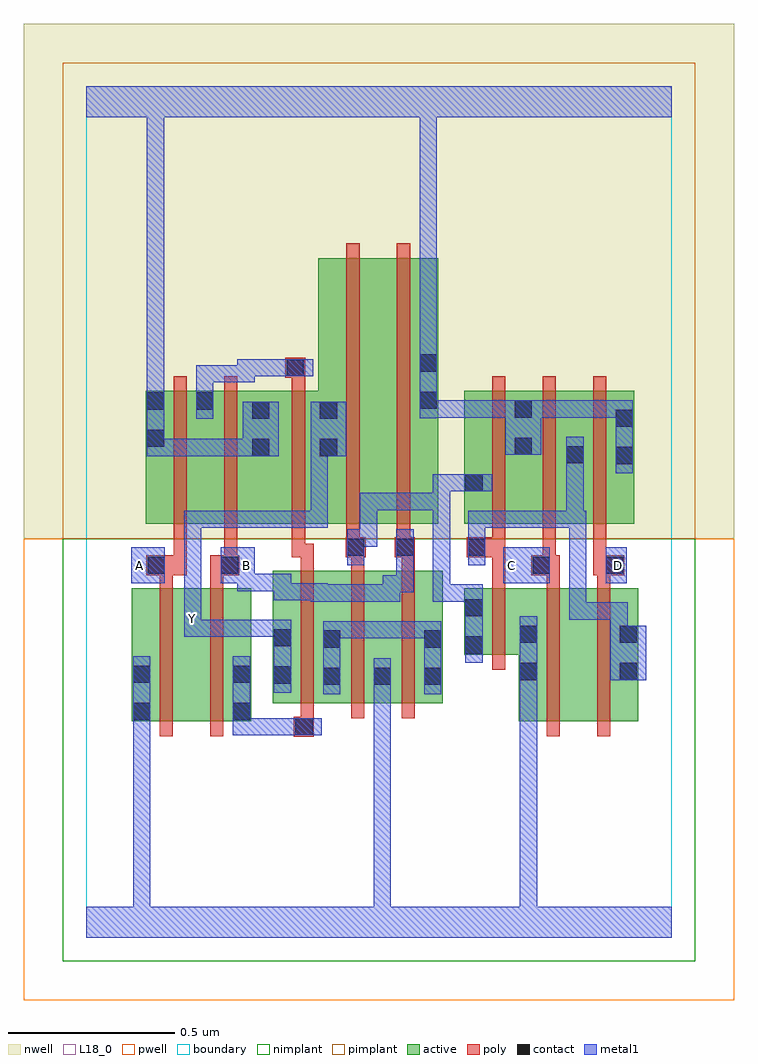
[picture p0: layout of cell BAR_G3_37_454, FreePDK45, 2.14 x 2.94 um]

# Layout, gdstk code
import gdstk
lib = gdstk.Library(unit=1e-6, precision=1e-09)
def R(c, l, rs):  # rectangles x0, y0, x1, y1
    for r in rs: c.add(gdstk.rectangle(r[:2], r[2:], *l))
def A(c, l, x, y, w, h, nx, ny, dx, dy):  # array of equal rectangles
    R(c, l, [(x+i*dx, y+j*dy, x+i*dx+w, y+j*dy+h) for i in range(nx) for j in range(ny)])
active = (1, 0)
pwell = (2, 0)
nwell = (3, 0)
nimplant = (4, 0)
pimplant = (5, 0)
poly = (9, 0)
contact = (10, 0)
metal1 = (11, 0)
L18_0 = (18, 0)
boundary = (235, 0)

bar_g3_37_454 = lib.new_cell('BAR_G3_37_454')
R(bar_g3_37_454, active, [(0.136,0.65,0.316,1.05), (0.136,0.65,0.196,1.05), (0.316,0.65,0.496,1.05), (0.436,0.65,0.496,1.05), (1.3,0.65,1.48,1.05), (1.3,0.65,1.36,1.05), (1.48,0.65,1.66,1.05), (0.56,0.704,0.768,1.104), (0.708,0.704,0.92,1.104), (0.86,0.704,1.072,1.104), (0.56,0.756,0.62,1.104), (0.708,0.756,0.768,1.104), (0.86,0.756,0.92,0.816), (1.012,0.756,1.072,1.104), (1.6,0.756,1.66,1.05), (1.136,0.85,1.36,1.05), (1.136,0.85,1.196,1.05), (0.178,1.244,0.238,1.644), (0.178,1.244,0.386,1.644), (0.326,1.244,0.386,1.644), (0.326,1.244,0.554,1.644), (0.494,1.244,0.554,1.644), (0.494,1.244,0.758,1.644), (0.698,1.244,0.878,2.044), (0.698,1.244,0.758,1.816), (0.878,1.244,1.058,2.044), (0.998,1.244,1.058,2.044), (1.136,1.244,1.196,1.644), (1.136,1.244,1.344,1.644), (1.284,1.244,1.344,1.644), (1.284,1.244,1.5,1.644), (1.44,1.244,1.5,1.644), (1.44,1.244,1.648,1.644), (1.588,1.244,1.648,1.644)])
R(bar_g3_37_454, pwell, [(-0.188,-0.188,1.948,1.2)])
R(bar_g3_37_454, nwell, [(-0.188,1.2,1.948,2.748)])
R(bar_g3_37_454, nimplant, [(-0.072,-0.072,1.832,1.2)])
R(bar_g3_37_454, pimplant, [(-0.072,1.2,1.832,2.632)])
A(bar_g3_37_454, poly, 0.644, 0.66, 0.04, 0.488, 3, 1, 0.152, 0)
A(bar_g3_37_454, poly, 0.644, 1.108, 0.04, 0.076, 3, 1, 0.152, 0)
A(bar_g3_37_454, poly, 1.22, 1.2, 0.04, 0.488, 3, 1, 0.152, 0)
R(bar_g3_37_454, poly, [(0.624,0.604,0.684,0.664), (0.22,0.606,0.26,1.094), (0.372,0.606,0.412,1.094), (1.384,0.606,1.424,1.094), (1.536,0.606,1.576,1.094), (0.644,0.624,0.684,0.7), (1.22,0.806,1.26,1.094), (0.22,1.054,0.26,1.13), (0.372,1.054,0.412,1.13), (1.22,1.054,1.26,1.184), (1.384,1.054,1.424,1.13), (1.536,1.054,1.576,1.13), (0.18,1.09,0.302,1.15), (0.22,1.09,0.26,1.13), (0.22,1.09,0.26,1.13), (0.372,1.09,0.46,1.15), (1.338,1.09,1.424,1.15), (1.524,1.09,1.618,1.15), (1.536,1.09,1.576,1.13), (1.536,1.09,1.576,1.13), (0.262,1.11,0.302,1.24), (0.414,1.11,0.454,1.24), (0.414,1.11,0.454,1.15), (0.414,1.11,0.454,1.15), (1.372,1.11,1.412,1.24), (1.372,1.11,1.412,1.15), (1.372,1.11,1.412,1.15), (1.524,1.11,1.564,1.24), (0.618,1.144,0.658,1.184), (0.618,1.144,0.658,1.184), (0.618,1.144,0.658,1.24), (0.618,1.144,0.684,1.184), (0.78,1.144,0.84,1.204), (0.796,1.144,0.836,1.184), (0.796,1.144,0.836,1.184), (0.928,1.144,0.988,1.204), (1.144,1.144,1.26,1.204), (1.22,1.144,1.26,1.184), (1.22,1.144,1.26,1.184), (0.782,1.164,0.822,1.24), (0.934,1.164,0.974,1.204), (0.934,1.164,0.974,1.204), (0.934,1.164,0.974,1.24), (1.22,1.164,1.26,1.24), (0.262,1.2,0.302,1.688), (0.414,1.2,0.454,1.688), (0.618,1.2,0.658,1.688), (0.782,1.2,0.822,2.088), (0.934,1.2,0.974,2.088), (0.618,1.648,0.658,1.724), (0.598,1.684,0.658,1.744)])
A(bar_g3_37_454, contact, 0.712, 0.76, 0.052, 0.052, 3, 1, 0.152, 0)
R(bar_g3_37_454, contact, [(0.628,0.608,0.68,0.66), (0.14,0.654,0.192,0.706), (0.44,0.654,0.492,0.706), (0.564,0.764,0.616,0.816), (0.14,0.766,0.192,0.818), (0.44,0.766,0.492,0.818), (1.304,0.774,1.356,0.826), (1.604,0.774,1.656,0.826), (1.14,0.854,1.192,0.906), (0.712,0.872,0.764,0.924), (1.016,0.872,1.068,0.924), (0.564,0.876,0.616,0.928), (1.304,0.886,1.356,0.938), (1.604,0.886,1.656,0.938), (1.14,0.966,1.192,1.018), (0.184,1.094,0.236,1.146), (0.404,1.094,0.456,1.146), (1.342,1.094,1.394,1.146), (1.562,1.094,1.614,1.146), (0.784,1.148,0.836,1.2), (0.932,1.148,0.984,1.2), (1.148,1.148,1.2,1.2), (1.14,1.342,1.192,1.394), (1.592,1.424,1.644,1.476), (1.444,1.426,1.496,1.478), (0.498,1.448,0.55,1.5), (0.702,1.448,0.754,1.5), (1.288,1.452,1.34,1.504), (0.182,1.476,0.234,1.528), (1.592,1.536,1.644,1.588), (0.498,1.56,0.55,1.612), (0.702,1.56,0.754,1.612), (1.288,1.564,1.34,1.616), (0.182,1.588,0.234,1.64), (0.33,1.588,0.382,1.64), (1.002,1.59,1.054,1.642), (0.602,1.688,0.654,1.74), (1.002,1.702,1.054,1.754)])
R(bar_g3_37_454, metal1, [(0,0,1.76,0.092), (0.14,0.04,0.192,0.092), (0.14,0.04,0.192,0.092), (0.14,0.04,0.192,0.092), (0.14,0.04,0.192,0.092), (0.14,0.04,0.192,0.092), (0.14,0.04,0.192,0.092), (0.14,0.04,0.192,0.092), (0.14,0.04,0.192,0.092), (0.14,0.04,0.192,0.092), (0.14,0.04,0.192,0.092), (0.14,0.04,0.192,0.678), (0.864,0.04,0.916,0.092), (0.864,0.04,0.916,0.092), (0.864,0.04,0.916,0.092), (0.864,0.04,0.916,0.092), (0.864,0.04,0.916,0.092), (0.864,0.04,0.916,0.092), (0.864,0.04,0.916,0.784), (1.304,0.04,1.356,0.092), (1.304,0.04,1.356,0.092), (1.304,0.04,1.356,0.092), (1.304,0.04,1.356,0.092), (1.304,0.04,1.356,0.092), (1.304,0.04,1.356,0.092), (1.304,0.04,1.356,0.092), (1.304,0.04,1.356,0.092), (1.304,0.04,1.356,0.092), (1.304,0.04,1.356,0.092), (1.304,0.04,1.356,0.092), (1.304,0.04,1.356,0.092), (1.304,0.04,1.356,0.798), (0.44,0.608,0.492,0.66), (0.44,0.608,0.616,0.66), (0.44,0.608,0.492,0.678), (0.564,0.608,0.616,0.66), (0.564,0.608,0.652,0.66), (0.6,0.608,0.708,0.66), (0.14,0.626,0.192,0.678), (0.14,0.626,0.192,0.678), (0.14,0.626,0.192,0.846), (0.44,0.626,0.492,0.846), (0.712,0.732,0.764,0.952), (0.864,0.732,0.916,0.784), (0.864,0.732,0.916,0.784), (0.864,0.732,0.916,0.784), (0.864,0.732,0.916,0.784), (0.864,0.732,0.916,0.784), (0.864,0.732,0.916,0.784), (0.864,0.732,0.916,0.84), (1.016,0.732,1.068,0.952), (0.564,0.736,0.616,0.956), (1.304,0.746,1.356,0.966), (1.576,0.774,1.684,0.938), (1.14,0.826,1.192,1.046), (1.576,0.886,1.628,1.008), (0.712,0.9,0.764,0.952), (0.712,0.9,0.764,0.952), (0.712,0.9,0.874,0.952), (0.822,0.9,0.874,0.952), (0.822,0.9,0.946,0.952), (0.894,0.9,0.946,0.952), (0.894,0.9,1.068,0.952), (0.294,0.904,0.346,0.956), (0.294,0.904,0.346,0.956), (0.294,0.904,0.346,0.956), (0.294,0.904,0.492,0.956), (0.294,0.904,0.346,0.958), (0.44,0.904,0.492,0.956), (0.44,0.904,0.616,0.956), (0.294,0.906,0.346,1.014), (1.452,0.956,1.504,1.008), (1.452,0.956,1.628,1.008), (1.452,0.956,1.504,1.284), (1.576,0.956,1.628,1.008), (1.576,0.956,1.628,1.008), (1.576,0.956,1.628,1.008), (0.294,0.962,0.346,1.284), (1.14,0.994,1.192,1.062), (0.674,1.01,0.726,1.062), (0.674,1.01,0.726,1.062), (0.674,1.01,0.944,1.062), (0.674,1.01,0.726,1.066), (0.892,1.01,0.944,1.09), (1.042,1.01,1.094,1.338), (1.042,1.01,1.192,1.062), (0.564,1.014,0.616,1.066), (0.564,1.014,0.616,1.066), (0.564,1.014,0.726,1.066), (0.564,1.014,0.616,1.094), (0.892,1.038,0.984,1.09), (0.932,1.038,0.984,1.228), (0.454,1.042,0.616,1.094), (0.454,1.042,0.506,1.118), (0.134,1.066,0.236,1.174), (0.404,1.066,0.506,1.174), (0.454,1.066,0.506,1.118), (1.254,1.066,1.394,1.174), (1.562,1.066,1.626,1.174), (0.784,1.12,0.836,1.228), (1.148,1.12,1.2,1.228), (0.784,1.176,0.874,1.228), (0.822,1.176,0.874,1.338), (1.148,1.176,1.2,1.228), (1.148,1.176,1.2,1.284), (0.294,1.232,0.346,1.284), (0.294,1.232,0.346,1.284), (0.294,1.232,0.346,1.284), (0.294,1.232,0.506,1.284), (0.454,1.232,0.506,1.284), (0.454,1.232,0.616,1.284), (0.564,1.232,0.616,1.284), (0.564,1.232,0.616,1.284), (0.564,1.232,0.616,1.284), (0.564,1.232,0.726,1.284), (0.674,1.232,0.726,1.284), (0.674,1.232,0.726,1.5), (1.148,1.232,1.496,1.284), (1.444,1.232,1.496,1.284), (1.444,1.232,1.496,1.284), (1.444,1.232,1.496,1.45), (1.444,1.232,1.504,1.284), (0.822,1.286,0.946,1.338), (0.894,1.286,0.946,1.338), (0.894,1.286,1.056,1.338), (1.004,1.286,1.056,1.338), (1.004,1.286,1.094,1.338), (1.042,1.286,1.094,1.338), (1.042,1.286,1.094,1.394), (1.042,1.342,1.22,1.394), (1.592,1.396,1.644,1.616), (1.444,1.398,1.496,1.506), (0.182,1.448,0.234,1.5), (0.182,1.448,0.234,1.5), (0.182,1.448,0.234,1.5), (0.182,1.448,0.234,1.5), (0.182,1.448,0.234,1.5), (0.182,1.448,0.234,1.5), (0.182,1.448,0.234,1.5), (0.182,1.448,0.234,1.5), (0.182,1.448,0.234,1.668), (0.182,1.448,0.346,1.5), (0.294,1.448,0.346,1.5), (0.294,1.448,0.346,1.5), (0.294,1.448,0.346,1.5), (0.294,1.448,0.522,1.5), (0.47,1.448,0.578,1.612), (0.674,1.448,0.782,1.612), (1.26,1.452,1.368,1.616), (0.33,1.56,0.382,1.668), (1.002,1.562,1.054,1.782), (1.002,1.564,1.09,1.616), (1.038,1.564,1.09,1.616), (1.038,1.564,1.09,1.616), (1.038,1.564,1.09,1.616), (1.038,1.564,1.09,1.616), (1.038,1.564,1.09,1.616), (1.038,1.564,1.09,1.616), (1.038,1.564,1.09,1.616), (1.038,1.564,1.178,1.616), (1.126,1.564,1.178,1.616), (1.126,1.564,1.312,1.616), (1.26,1.564,1.312,1.616), (1.26,1.564,1.312,1.616), (1.316,1.564,1.478,1.616), (1.426,1.564,1.478,1.616), (1.426,1.564,1.478,1.616), (1.426,1.564,1.478,1.616), (1.426,1.564,1.644,1.616), (1.592,1.564,1.644,1.616), (1.592,1.564,1.644,1.616), (0.182,1.616,0.234,1.668), (0.182,1.616,0.234,1.668), (0.182,1.616,0.234,1.668), (0.182,1.616,0.234,1.668), (0.182,1.616,0.234,2.52), (0.33,1.616,0.382,1.668), (0.33,1.616,0.382,1.722), (0.33,1.67,0.506,1.722), (0.454,1.67,0.506,1.722), (0.454,1.67,0.506,1.74), (0.454,1.688,0.506,1.74), (0.454,1.688,0.616,1.74), (0.564,1.688,0.616,1.74), (0.564,1.688,0.626,1.74), (0.574,1.688,0.682,1.74), (1.002,1.73,1.054,1.782), (1.002,1.73,1.054,1.782), (1.002,1.73,1.054,1.782), (1.002,1.73,1.054,1.782), (1.002,1.73,1.054,1.782), (1.002,1.73,1.054,1.782), (1.002,1.73,1.054,1.782), (1.002,1.73,1.054,1.782), (1.002,1.73,1.054,2.52), (0,2.468,1.76,2.56), (0.182,2.468,0.234,2.52), (0.182,2.468,0.234,2.52), (0.182,2.468,0.234,2.52), (0.182,2.468,0.234,2.52), (0.182,2.468,0.234,2.52), (0.182,2.468,0.234,2.52), (0.182,2.468,0.234,2.52), (0.182,2.468,0.234,2.52), (0.182,2.468,0.234,2.52), (0.182,2.468,0.234,2.52), (0.182,2.468,0.234,2.52), (0.182,2.468,0.234,2.52)])
R(bar_g3_37_454, L18_0, [(0,0,1.76,0.092), (0.14,0.04,0.192,0.092), (0.14,0.04,0.192,0.092), (0.14,0.04,0.192,0.092), (0.14,0.04,0.192,0.092), (0.14,0.04,0.192,0.092), (0.14,0.04,0.192,0.092), (0.14,0.04,0.192,0.092), (0.14,0.04,0.192,0.092), (0.14,0.04,0.192,0.092), (0.14,0.04,0.192,0.092), (0.14,0.04,0.192,0.678), (0.864,0.04,0.916,0.092), (0.864,0.04,0.916,0.092), (0.864,0.04,0.916,0.092), (0.864,0.04,0.916,0.092), (0.864,0.04,0.916,0.092), (0.864,0.04,0.916,0.092), (0.864,0.04,0.916,0.784), (1.304,0.04,1.356,0.092), (1.304,0.04,1.356,0.092), (1.304,0.04,1.356,0.092), (1.304,0.04,1.356,0.092), (1.304,0.04,1.356,0.092), (1.304,0.04,1.356,0.092), (1.304,0.04,1.356,0.092), (1.304,0.04,1.356,0.092), (1.304,0.04,1.356,0.092), (1.304,0.04,1.356,0.092), (1.304,0.04,1.356,0.092), (1.304,0.04,1.356,0.092), (1.304,0.04,1.356,0.798), (0.14,0.626,0.192,0.678), (0.14,0.626,0.192,0.678), (0.14,0.626,0.192,0.846), (0.864,0.732,0.916,0.784), (0.864,0.732,0.916,0.784), (0.864,0.732,0.916,0.784), (0.864,0.732,0.916,0.784), (0.864,0.732,0.916,0.784), (0.864,0.732,0.916,0.784), (0.864,0.732,0.916,0.84), (0.564,0.736,0.616,0.956), (1.304,0.746,1.356,0.966), (0.294,0.904,0.346,0.956), (0.294,0.904,0.346,0.956), (0.294,0.904,0.346,0.956), (0.294,0.904,0.346,0.958), (0.294,0.904,0.492,0.956), (0.44,0.904,0.492,0.956), (0.44,0.904,0.616,0.956), (0.294,0.906,0.346,1.014), (0.294,0.934,0.346,0.986), (0.294,0.962,0.346,1.284), (0.674,1.01,0.726,1.062), (0.674,1.01,0.726,1.062), (0.674,1.01,0.726,1.066), (0.674,1.01,0.944,1.062), (0.892,1.01,0.944,1.09), (0.564,1.014,0.616,1.066), (0.564,1.014,0.616,1.066), (0.564,1.014,0.616,1.094), (0.564,1.014,0.726,1.066), (0.892,1.038,0.984,1.09), (0.932,1.038,0.984,1.228), (0.454,1.042,0.506,1.118), (0.454,1.042,0.616,1.094), (0.134,1.066,0.236,1.174), (0.404,1.066,0.506,1.174), (0.454,1.066,0.506,1.118), (1.254,1.066,1.394,1.174), (1.562,1.066,1.626,1.174), (0.134,1.094,0.186,1.146), (0.454,1.094,0.506,1.146), (1.254,1.094,1.306,1.146), (1.574,1.094,1.626,1.146), (0.294,1.232,0.346,1.284), (0.294,1.232,0.346,1.284), (0.294,1.232,0.346,1.284), (0.294,1.232,0.506,1.284), (0.454,1.232,0.506,1.284), (0.454,1.232,0.616,1.284), (0.564,1.232,0.616,1.284), (0.564,1.232,0.616,1.284), (0.564,1.232,0.616,1.284), (0.564,1.232,0.726,1.284), (0.674,1.232,0.726,1.284), (0.674,1.232,0.726,1.5), (1.592,1.396,1.644,1.616), (0.182,1.448,0.234,1.5), (0.182,1.448,0.234,1.5), (0.182,1.448,0.234,1.5), (0.182,1.448,0.234,1.5), (0.182,1.448,0.234,1.5), (0.182,1.448,0.234,1.5), (0.182,1.448,0.234,1.5), (0.182,1.448,0.234,1.5), (0.182,1.448,0.234,1.668), (0.182,1.448,0.346,1.5), (0.294,1.448,0.346,1.5), (0.294,1.448,0.346,1.5), (0.294,1.448,0.346,1.5), (0.294,1.448,0.522,1.5), (0.47,1.448,0.578,1.612), (0.674,1.448,0.782,1.612), (1.26,1.452,1.368,1.616), (1.002,1.562,1.054,1.782), (1.002,1.564,1.09,1.616), (1.038,1.564,1.09,1.616), (1.038,1.564,1.09,1.616), (1.038,1.564,1.09,1.616), (1.038,1.564,1.09,1.616), (1.038,1.564,1.09,1.616), (1.038,1.564,1.09,1.616), (1.038,1.564,1.09,1.616), (1.038,1.564,1.178,1.616), (1.126,1.564,1.178,1.616), (1.126,1.564,1.312,1.616), (1.26,1.564,1.312,1.616), (1.26,1.564,1.312,1.616), (1.316,1.564,1.478,1.616), (1.426,1.564,1.478,1.616), (1.426,1.564,1.478,1.616), (1.426,1.564,1.478,1.616), (1.426,1.564,1.644,1.616), (1.592,1.564,1.644,1.616), (1.592,1.564,1.644,1.616), (0.182,1.616,0.234,1.668), (0.182,1.616,0.234,1.668), (0.182,1.616,0.234,1.668), (0.182,1.616,0.234,1.668), (0.182,1.616,0.234,2.52), (1.002,1.73,1.054,1.782), (1.002,1.73,1.054,1.782), (1.002,1.73,1.054,1.782), (1.002,1.73,1.054,1.782), (1.002,1.73,1.054,1.782), (1.002,1.73,1.054,1.782), (1.002,1.73,1.054,1.782), (1.002,1.73,1.054,1.782), (1.002,1.73,1.054,2.52), (0,2.468,1.76,2.56), (0.182,2.468,0.234,2.52), (0.182,2.468,0.234,2.52), (0.182,2.468,0.234,2.52), (0.182,2.468,0.234,2.52), (0.182,2.468,0.234,2.52), (0.182,2.468,0.234,2.52), (0.182,2.468,0.234,2.52), (0.182,2.468,0.234,2.52), (0.182,2.468,0.234,2.52), (0.182,2.468,0.234,2.52), (0.182,2.468,0.234,2.52), (0.182,2.468,0.234,2.52)])
R(bar_g3_37_454, boundary, [(0,0,1.76,2.56)])
bar_g3_37_454.add(gdstk.Label('A', (0.16,1.12), layer=11, texttype=0))
bar_g3_37_454.add(gdstk.Label('B', (0.48,1.12), layer=11, texttype=0))
bar_g3_37_454.add(gdstk.Label('C', (1.28,1.12), layer=11, texttype=0))
bar_g3_37_454.add(gdstk.Label('D', (1.6,1.12), layer=11, texttype=0))
bar_g3_37_454.add(gdstk.Label('Y', (0.32,0.96), layer=11, texttype=0))

lib.write_gds('BAR_G3_37_454.gds')
